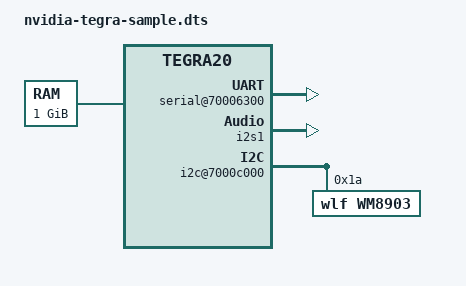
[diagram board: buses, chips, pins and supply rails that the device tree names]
/{
  compatible = "nvidia,harmony", "nvidia,tegra20";
  #address-cells = <1>;
  #size-cells = <1>;
  interrupt-parent = <&intc>;

  chosen {
  };
  aliases {
  };

  memory {
    device_type = "memory";
    reg = <0x00000000 0x40000000>;
  };

  soc {
    compatible = "nvidia,tegra20-soc", "simple-bus";
    #address-cells = <1>;
    #size-cells = <1>;
    ranges;

    intc: interrupt-controller@50041000 {
      compatible = "nvidia,tegra20-gic";
      interrupt-controller;
      #interrupt-cells = <1>;
      reg = <0x50041000 0x1000>, <0x50040100 0x0100>;
    };

    serial@70006300 {
      compatible = "nvidia,tegra20-uart";
      reg = <0x70006300 0x100>;
      interrupts = <122>;
    };

    i2s1: i2s@70002800 {
      compatible = "nvidia,tegra20-i2s";
      reg = <0x70002800 0x100>;
      interrupts = <77>;
      codec = <&wm8903>;
    };

    i2c@7000c000 {
      compatible = "nvidia,tegra20-i2c";
      #address-cells = <1>;
      #size-cells = <0>;
      reg = <0x7000c000 0x100>;
      interrupts = <70>;

      wm8903: codec@1a {
        compatible = "wlf,wm8903";
        reg = <0x1a>;
        interrupts = <347>;
      };
    };
  };

  sound {
    compatible = "nvidia,harmony-sound";
    i2s-controller = <&i2s1>;
    i2s-codec = <&wm8903>;
  };
};
